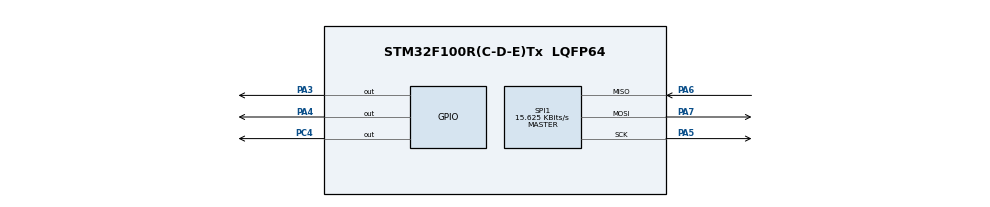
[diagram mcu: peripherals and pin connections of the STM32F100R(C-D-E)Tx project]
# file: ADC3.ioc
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Mcu.Family=STM32F1
Mcu.Name=STM32F100R(C-D-E)Tx
Mcu.Package=LQFP64
NVIC.PriorityGroup=NVIC_PRIORITYGROUP_4
PA13.Mode=Serial_Wire
PA13.Signal=SYS_JTMS-SWDIO
PA14.Mode=Serial_Wire
PA14.Signal=SYS_JTCK-SWCLK
PA3.PinState=GPIO_PIN_SET
PA3.Signal=GPIO_Output
PA4.PinState=GPIO_PIN_SET
PA4.Signal=GPIO_Output
PA5.Mode=Full_Duplex_Master
PA5.Signal=SPI1_SCK
PA6.Mode=Full_Duplex_Master
PA6.Signal=SPI1_MISO
PA7.Mode=Full_Duplex_Master
PA7.Signal=SPI1_MOSI
PC4.PinState=GPIO_PIN_SET
PC4.Signal=GPIO_Output
PD0-OSC_IN.Mode=HSE-External-Oscillator
PD0-OSC_IN.Signal=RCC_OSC_IN
PD1-OSC_OUT.Mode=HSE-External-Oscillator
PD1-OSC_OUT.Signal=RCC_OSC_OUT
ProjectManager.HeapSize=0x200
ProjectManager.StackSize=0x400
ProjectManager.TargetToolchain=TrueSTUDIO
RCC.ADCPresc=RCC_ADCPCLK2_DIV8
RCC.AHBCLKDivider=RCC_SYSCLK_DIV16
RCC.AHBFreq_Value=500000
RCC.APB1Freq_Value=500000
RCC.APB1TimFreq_Value=500000
RCC.APB2CLKDivider=RCC_HCLK_DIV16
RCC.APB2Freq_Value=31250
RCC.APB2TimFreq_Value=62500
RCC.HCLKFreq_Value=500000
RCC.HSEDivPLL=RCC_HSE_PREDIV_DIV3
RCC.HSE_VALUE=24000000
RCC.PLLSource=RCC_PLLSOURCE_HSE
RCC.SYSCLKFreq_VALUE=8000000
SPI1.CLKPhase=SPI_PHASE_2EDGE
SPI1.CLKPolarity=SPI_POLARITY_HIGH
SPI1.CalculateBaudRate=15.625 KBits/s
SPI1.Direction=SPI_DIRECTION_2LINES
SPI1.Mode=SPI_MODE_MASTER
SPI1.VirtualType=VM_MASTER
TIM2.Period=999
TIM2.Prescaler=71
VP_TIM2_VS_ClockSourceINT.Mode=Internal
board=custom

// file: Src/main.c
/* USER CODE BEGIN Header */
/**
  ******************************************************************************
  * @file           : main.c
  * @brief          : Main program body
  ******************************************************************************
  * @attention
  *
  * Copyright (c) 2023 STMicroelectronics.
  * All rights reserved.
  *
  * This software is licensed under terms that can be found in the LICENSE file
  * in the root directory of this software component.
  * If no LICENSE file comes with this software, it is provided AS-IS.
  *
  ******************************************************************************
  */
/* USER CODE END Header */
#include "main.h"

 SPI_HandleTypeDef hspi1;

TIM_HandleTypeDef htim2;

void SystemClock_Config(void);
static void MX_GPIO_Init(void);
static void MX_SPI1_Init(void);
static void MX_TIM2_Init(void);
/* USER CODE BEGIN PFP */
void AD7708_Conversion_Delay(void);
/* USER CODE END PFP */

/* USER CODE BEGIN 0 */
unsigned char iocon[1] = {0x07}, iocon_dat[1] = {0x30}, mode[1] = {0x01}, conv_mod[1] = {0x13},
		adccon[1] = {0x02}, ch[2][1] = {{0x8E}, {0x9E}},
		data_reg[1] = {0x44}, filter[1] = {0x03}, filter_sf[1] = {0x52};

uint16_t rx_buffer[2][1] = {{0},{0}}, result; unsigned char opamp;

unsigned char iocon_rd[1] = {0x47}, filter_rd[1] = {0x43},  adccon_rd[1] = {0x42}, mode_rd[1] = {0x41};

unsigned char read_reg()
{
	unsigned char rx_buffer[1] = {0x0};
	HAL_SPI_Transmit (&hspi1, mode_rd, 1, 100);
	HAL_SPI_Receive(&hspi1, rx_buffer, 1, 100);
	return (rx_buffer[0]);
}
void AD7708_Conversion_Delay(void)
{
	unsigned char count = 61; //conversion time = 60.047 ms
	while(count>0)
	{
		//do nothing
		count--;
	}
}
void AD7708_initialize(void)
{
	  HAL_GPIO_WritePin(GPIOA, GPIO_PIN_3, GPIO_PIN_RESET);
	  HAL_Delay(1);
	  HAL_GPIO_WritePin(GPIOA, GPIO_PIN_3, GPIO_PIN_SET); //Hard Reset ADC
	  HAL_Delay(1);
	  HAL_GPIO_WritePin(GPIOA, GPIO_PIN_4, GPIO_PIN_SET);
	  HAL_Delay(1);
	  HAL_GPIO_WritePin(GPIOA, GPIO_PIN_4, GPIO_PIN_RESET); //Chip select

//	  HAL_SPI_Transmit (&hspi1, iocon, 1, 100);
//	  HAL_SPI_Transmit (&hspi1, iocon_dat, 1, 100); //P1 = 0, P2 = 0
	  HAL_SPI_Transmit (&hspi1, filter, 1, 100);
	  HAL_SPI_Transmit (&hspi1, filter_sf, 1, 100); //Set SF word = 82
	  HAL_SPI_Transmit (&hspi1, mode, 1, 100);
	  HAL_SPI_Transmit (&hspi1, conv_mod, 1, 100); //Set ADC in continuous conversion mode
//	  unsigned char output = read_reg();

}
void AD7708_stop(void)
{
	  HAL_GPIO_WritePin(GPIOA, GPIO_PIN_4, GPIO_PIN_RESET);
	  HAL_Delay(1);
	  HAL_GPIO_WritePin(GPIOA, GPIO_PIN_4, GPIO_PIN_SET);
	  HAL_Delay(1); //Chip select
}
/* USER CODE END 0 */

int main(void)
{

  /* MCU Configuration--------------------------------------------------------*/

  /* Reset of all peripherals, Initializes the Flash interface and the Systick. */
  HAL_Init();

  /* Configure the system clock */
  SystemClock_Config();

  /* Initialize all configured peripherals */
  MX_GPIO_Init();
  MX_SPI1_Init();
  MX_TIM2_Init();
  /* USER CODE BEGIN 2 */

  AD7708_initialize();

  /* USER CODE END 2 */
  /* Infinite loop */
  while (1)
  {
	  opamp++;
	  if (opamp == 1)
	  {
		HAL_SPI_Transmit (&hspi1, iocon, 1, 100);
		HAL_SPI_Transmit (&hspi1, iocon_dat, 1, 100); //P1 = 0, P2 = 0
		HAL_SPI_Transmit (&hspi1, adccon, 1, 100);
		HAL_SPI_Transmit (&hspi1, ch[0], 1, 100); //Select channel for conversion
		HAL_Delay(1);
		AD7708_Conversion_Delay(); //wait 61ms (ADC conversion time)
		if(HAL_GPIO_ReadPin(GPIOC, GPIO_PIN_4) == GPIO_PIN_RESET) //check RDY pin
		{
			HAL_SPI_Transmit (&hspi1, data_reg, 1, 100); //read data reg
			HAL_SPI_Receive(&hspi1, rx_buffer[0], 2, 100);
		}
	  }
 	  else if (opamp == 2)
	  {
//		HAL_SPI_Transmit (&hspi1, iocon, 1, 100);
//		HAL_SPI_Transmit (&hspi1, iocon_dat, 1, 100); //P1 = 0, P2 = 0
		HAL_SPI_Transmit (&hspi1, adccon, 1, 100);
		HAL_Delay(1);
		HAL_SPI_Transmit (&hspi1, ch[1], 1, 100); //Select channel for conversion
		HAL_Delay(1);
		AD7708_Conversion_Delay(); //wait 61ms (ADC conversion time)
		if(HAL_GPIO_ReadPin(GPIOC, GPIO_PIN_4) == GPIO_PIN_RESET) //check RDY pin
		{
			HAL_SPI_Transmit (&hspi1, data_reg, 1, 100); //read data reg
			HAL_SPI_Receive(&hspi1, rx_buffer[1], 2, 100);
		}
	  }
	  else if (opamp>2)
	  {
		  result = (rx_buffer[1]) - (rx_buffer[0]);
		  opamp = 0;
	  }
    /* USER CODE BEGIN 3 */
  }
  AD7708_stop();
  /* USER CODE END 3 */
}

void SystemClock_Config(void)
{
  RCC_OscInitTypeDef RCC_OscInitStruct = {0};
  RCC_ClkInitTypeDef RCC_ClkInitStruct = {0};

  /** Initializes the CPU, AHB and APB busses clocks
  */
  RCC_OscInitStruct.OscillatorType = RCC_OSCILLATORTYPE_HSE;
  RCC_OscInitStruct.HSEState = RCC_HSE_ON;
  RCC_OscInitStruct.PLL.PLLState = RCC_PLL_NONE;
  if (HAL_RCC_OscConfig(&RCC_OscInitStruct) != HAL_OK)
  {
    Error_Handler();
  }
  /** Initializes the CPU, AHB and APB busses clocks
  */
  RCC_ClkInitStruct.ClockType = RCC_CLOCKTYPE_HCLK|RCC_CLOCKTYPE_SYSCLK
                              |RCC_CLOCKTYPE_PCLK1|RCC_CLOCKTYPE_PCLK2;
  RCC_ClkInitStruct.SYSCLKSource = RCC_SYSCLKSOURCE_HSE;
  RCC_ClkInitStruct.AHBCLKDivider = RCC_SYSCLK_DIV1;
  RCC_ClkInitStruct.APB1CLKDivider = RCC_HCLK_DIV1;
  RCC_ClkInitStruct.APB2CLKDivider = RCC_HCLK_DIV1;

  if (HAL_RCC_ClockConfig(&RCC_ClkInitStruct, FLASH_LATENCY_0) != HAL_OK)
  {
    Error_Handler();
  }
}

static void MX_SPI1_Init(void)
{

  /* SPI1 parameter configuration*/
  hspi1.Instance = SPI1;
  hspi1.Init.Mode = SPI_MODE_MASTER;
  hspi1.Init.Direction = SPI_DIRECTION_2LINES;
  hspi1.Init.DataSize = SPI_DATASIZE_8BIT;
  hspi1.Init.CLKPolarity = SPI_POLARITY_HIGH;
  hspi1.Init.CLKPhase = SPI_PHASE_2EDGE;
  hspi1.Init.NSS = SPI_NSS_SOFT;
  hspi1.Init.BaudRatePrescaler = SPI_BAUDRATEPRESCALER_64;
  hspi1.Init.FirstBit = SPI_FIRSTBIT_MSB;
  hspi1.Init.TIMode = SPI_TIMODE_DISABLE;
  hspi1.Init.CRCCalculation = SPI_CRCCALCULATION_DISABLE;
  hspi1.Init.CRCPolynomial = 7;
  if (HAL_SPI_Init(&hspi1) != HAL_OK)
  {
    Error_Handler();
  }

}

static void MX_TIM2_Init(void)
{

  TIM_ClockConfigTypeDef sClockSourceConfig = {0};
  TIM_MasterConfigTypeDef sMasterConfig = {0};

  htim2.Instance = TIM2;
  htim2.Init.Prescaler = 71;
  htim2.Init.CounterMode = TIM_COUNTERMODE_UP;
  htim2.Init.Period = 999;
  htim2.Init.ClockDivision = TIM_CLOCKDIVISION_DIV1;
  htim2.Init.AutoReloadPreload = TIM_AUTORELOAD_PRELOAD_DISABLE;
  if (HAL_TIM_Base_Init(&htim2) != HAL_OK)
  {
    Error_Handler();
  }
  sClockSourceConfig.ClockSource = TIM_CLOCKSOURCE_INTERNAL;
  if (HAL_TIM_ConfigClockSource(&htim2, &sClockSourceConfig) != HAL_OK)
  {
    Error_Handler();
  }
  sMasterConfig.MasterOutputTrigger = TIM_TRGO_RESET;
  sMasterConfig.MasterSlaveMode = TIM_MASTERSLAVEMODE_DISABLE;
  if (HAL_TIMEx_MasterConfigSynchronization(&htim2, &sMasterConfig) != HAL_OK)
  {
    Error_Handler();
  }

}

static void MX_GPIO_Init(void)
{
  GPIO_InitTypeDef GPIO_InitStruct = {0};

  /* GPIO Ports Clock Enable */
  __HAL_RCC_GPIOD_CLK_ENABLE();
  __HAL_RCC_GPIOA_CLK_ENABLE();
  __HAL_RCC_GPIOC_CLK_ENABLE();

  /*Configure GPIO pin Output Level */
  HAL_GPIO_WritePin(GPIOA, GPIO_PIN_3|GPIO_PIN_4, GPIO_PIN_SET);

  /*Configure GPIO pin Output Level */
  HAL_GPIO_WritePin(GPIOC, GPIO_PIN_4, GPIO_PIN_SET);

  /*Configure GPIO pins : PA3 PA4 */
  GPIO_InitStruct.Pin = GPIO_PIN_3|GPIO_PIN_4;
  GPIO_InitStruct.Mode = GPIO_MODE_OUTPUT_OD;
  GPIO_InitStruct.Pull = GPIO_NOPULL;
  GPIO_InitStruct.Speed = GPIO_SPEED_FREQ_LOW;
  HAL_GPIO_Init(GPIOA, &GPIO_InitStruct);

  /*Configure GPIO pin : PC4 */
  GPIO_InitStruct.Pin = GPIO_PIN_4;
  GPIO_InitStruct.Mode = GPIO_MODE_OUTPUT_OD;
  GPIO_InitStruct.Pull = GPIO_NOPULL;
  GPIO_InitStruct.Speed = GPIO_SPEED_FREQ_LOW;
  HAL_GPIO_Init(GPIOC, &GPIO_InitStruct);

}

void Error_Handler(void)
{
  __disable_irq();
  while (1)
  {
  }
}
